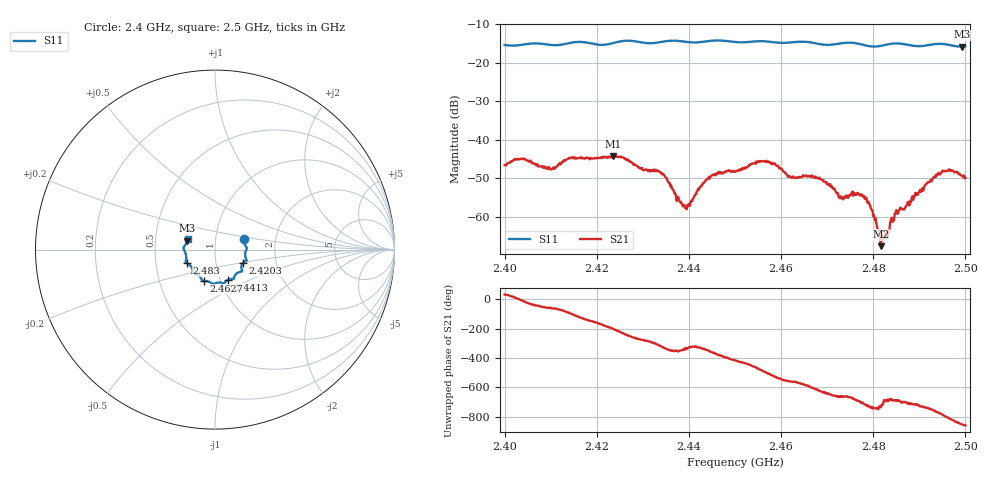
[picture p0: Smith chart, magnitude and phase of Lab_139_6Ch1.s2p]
# Hz S RI R 50
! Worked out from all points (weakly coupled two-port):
!   601 points, 2.4 GHz to 2.5 GHz, reference 50 ohm
!   highest |S21| = -44.27 dB at 2.4235 GHz (marker M1); lowest = -67.7 dB at 2.4817 GHz (marker M2)
!   lowest |S11| = -15.8 dB at 2.4993 GHz (marker M3), VSWR 1.39, Z = 36.5 + j3.71 ohm
!   |S11| at or under -10 dB: start of sweep to end of sweep
!   S12 and S22 are empty: the file has one direction only
!   S11 on the Smith chart (normalised r, x): 2.4 GHz: 1.37, +0.16; 2.4203 GHz: 1.35, -0.21; 2.4413 GHz: 1.09, -0.38; 2.4627 GHz: 0.83, -0.30; 2.483 GHz: 0.72, -0.11; 2.5 GHz: 0.73, +0.09
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2.4e9  0.1606 0.0569  0.00398 0.00245  0 0  0 0
2.410333e9  0.1694 -0.0135  0.00195 -0.00367  0 0  0 0
2.416667e9  0.1762 -0.0615  -0.00359 -0.00471  0 0  0 0
2.420333e9  0.1551 -0.0739  -0.0056 -0.00148  0 0  0 0
2.4235e9  0.1474 -0.1039  -0.00573 0.00213  0 0  0 0
2.433333e9  0.1081 -0.1486  0.0026 0.00297  0 0  0 0
2.439e9  0.0939 -0.1634  0.00137 0.000357  0 0  0 0
2.441333e9  0.0743 -0.1679  0.0015 0.0012  0 0  0 0
2.444833e9  0.0529 -0.1858  0.00339 7.27e-05  0 0  0 0
2.45e9  0.0293 -0.1839  0.00212 -0.00315  0 0  0 0
2.457e9  -0.0168 -0.1884  -0.00412 -0.0031  0 0  0 0
2.462667e9  -0.0619 -0.1748  -0.00306 0.00133  0 0  0 0
2.466667e9  -0.0742 -0.1675  -0.00169 0.00299  0 0  0 0
2.473e9  -0.118 -0.1344  0.000949 0.00158  0 0  0 0
2.478e9  -0.1244 -0.1164  0.00184 0.000198  0 0  0 0
2.481667e9  -0.1439 -0.0829  0.000398 -0.000108  0 0  0 0
2.483e9  -0.1548 -0.0768  0.000497 0.000379  0 0  0 0
2.483333e9  -0.1568 -0.0758  0.00055 0.000305  0 0  0 0
2.485167e9  -0.1636 -0.0712  0.000934 0.000607  0 0  0 0
2.493667e9  -0.1758 0.00462  0.00246 -0.0025  0 0  0 0
2.499333e9  -0.1542 0.0495  -0.00229 -0.00248  0 0  0 0
2.5e9  -0.1524 0.0585  -0.0024 -0.00212  0 0  0 0
